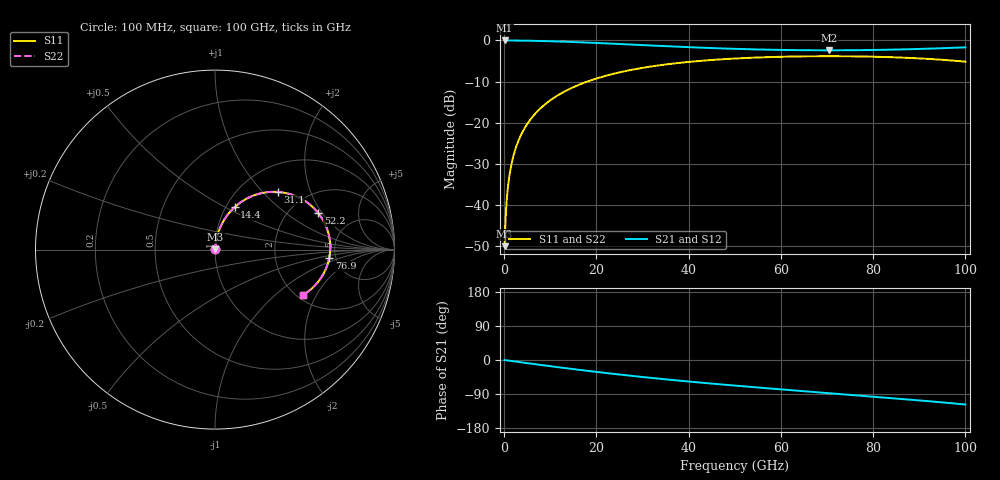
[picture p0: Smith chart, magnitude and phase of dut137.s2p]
! Touchstone file exported from HFSS 2026.1.0
!  File:  C:/ffzhzh/LocalFiles/Ansys_Project_Files/temp_train_RDL_137_1783499688_55944.aedt
!  Generated:  04:35:54 PM Jul  8, 2026
!  Design:  RDL
!  Project:  temp_train_RDL_137_1783499688_55944
! Variables:
!  h_bsmrdl = 2um
!  h_ox = 20um
!  h_rdl = 5um
!  h_sub = 80um
!  h_tmrdl = 3.49um
!  h_tsv = 80um
!  h_via = 3um
!  l_bsmrdl = 300um
!  l_sub = 798.71um
!  l_tmrdl = 398.71um
!  m_sub = 200um
!  pitch = 53.03um
!  r_tsv = 6um
!  s_tmrdl = 10um
!  w_bsmrdl = 18um
!  w_sub = 500um
!  w_tmrdl = 18.11um
!  x_tsv_center1 = 407.765um
!  x_tsv_center2 = 725.765um
!  x_tsv_center3 = 1142.585um
!  x_tsv_center4 = 1460.585um
!  x_tsv_center5 = 1877.405um
!  x_tsv_center6 = 2195.405um
# GHz S MA R 50.000000
! Terminal data exported
! Port[1] = TM_RDL1_1_T1
! Port[2] = TM_RDL1_1_T2
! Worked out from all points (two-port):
!   1000 points, 100 MHz to 100 GHz, reference 50 ohm
!   highest |S21| = -0.02 dB at 100 MHz (marker M1); lowest = -2.4 dB at 70.4 GHz (marker M2)
!   |S21| within 3 dB of the highest: start of sweep to end of sweep
!   lowest |S11| = -50.0 dB at 100 MHz (marker M3), VSWR 1.01, Z = 50.2 + j0.209 ohm
!   |S11| at or under -10 dB: start of sweep to 18.05 GHz
!   |S22| runs from -50.0 to -3.8 dB; largest |S21 - S12| = 1.5e-14
!   S11 on the Smith chart (normalised r, x): 100 MHz: 1.00, +0.00; 14.4 GHz: 1.10, +0.56; 31.1 GHz: 1.47, +1.22; 52.2 GHz: 2.84, +1.83; 76.9 GHz: 4.42, -0.68; 100 GHz: 2.14, -1.56
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0.1  0.003171 40.9  0.9976 -0.2  0.9976 -0.2  0.003171 40.9
! Gamma 0 0 0 0
! Port Impedance 50 0 50 0
0.4  0.008532 71.3  0.9973 -0.7  0.9973 -0.7  0.008532 71.3
0.8  0.01615 78.5  0.997 -1.4  0.997 -1.4  0.01615 78.5
1.1  0.02191 80.5  0.9968 -1.9  0.9968 -1.9  0.02191 80.5
1.4  0.02769 81.4  0.9966 -2.4  0.9966 -2.4  0.02769 81.4
2.3  0.04509 82.0  0.9958 -3.9  0.9958 -3.9  0.04509 82.0
3.6  0.07007 81.0  0.9939 -6.0  0.9939 -6.0  0.07007 81.0
5.4  0.1041 78.6  0.9902 -9.0  0.9902 -9.0  0.1041 78.6
7.8  0.1482 75.0  0.9836 -12.9  0.9836 -12.9  0.1482 75.1
10.8  0.201 70.5  0.9731 -17.6  0.9731 -17.6  0.201 70.5
14.4  0.2605 65.2  0.958 -23.2  0.958 -23.2  0.2606 65.2
16.8  0.2978 61.7  0.9466 -26.8  0.9466 -26.8  0.2978 61.7
23.3  0.3877 52.6  0.9128 -36.0  0.9128 -36.0  0.3878 52.7
31.1  0.4746 42.6  0.8707 -46.3  0.8707 -46.3  0.4747 42.7
33.4  0.496 39.8  0.8588 -49.1  0.8588 -49.1  0.4961 39.9
50.1  0.6024 21.5  0.7888 -67.7  0.7888 -67.7  0.6024 21.6
52.2  0.6105 19.4  0.7827 -69.8  0.7827 -69.8  0.6106 19.5
66.7  0.6412 5.5  0.7584 -83.9  0.7584 -83.9  0.6413 5.6
70.4  0.6424 2.0  0.7573 -87.4  0.7573 -87.4  0.6425 2.2
76.9  0.6384 -4.1  0.7605 -93.6  0.7605 -93.6  0.6385 -3.9
83.4  0.6261 -10.3  0.7702 -99.9  0.7702 -99.9  0.6262 -10.1
100  0.5513 -27.4  0.823 -117.4  0.823 -117.4  0.5515 -27.2
